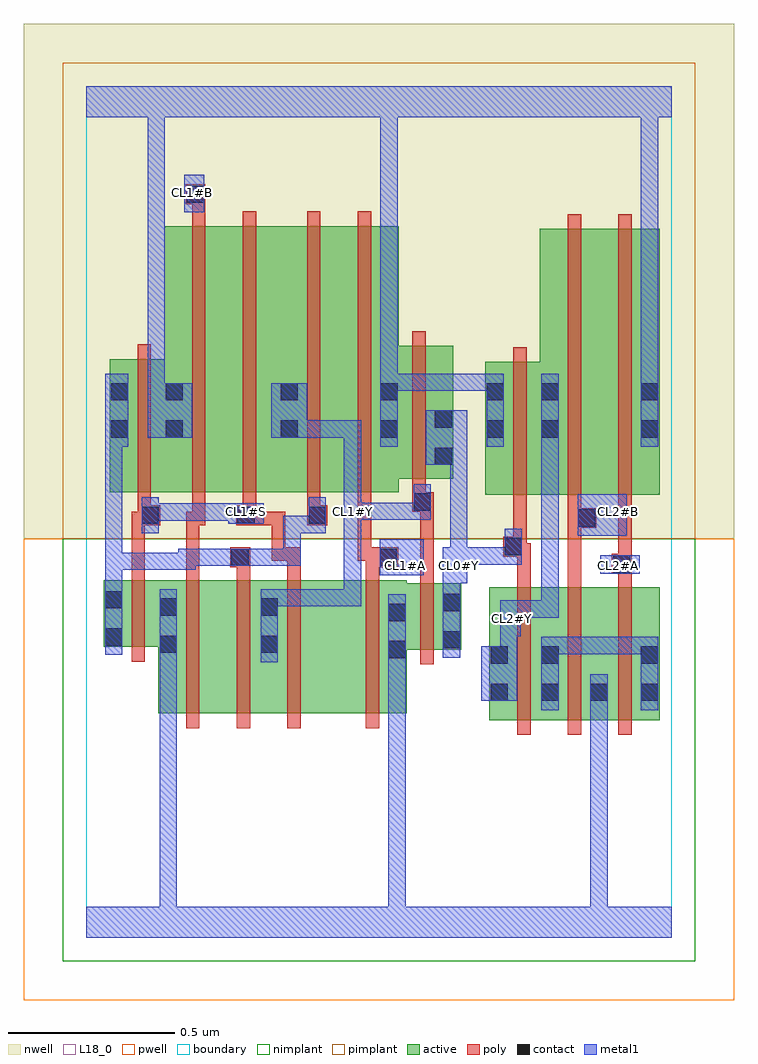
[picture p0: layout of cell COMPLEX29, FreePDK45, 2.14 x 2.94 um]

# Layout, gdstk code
import gdstk
lib = gdstk.Library(unit=1e-6, precision=1e-09)
def R(c, l, rs):  # rectangles x0, y0, x1, y1
    for r in rs: c.add(gdstk.rectangle(r[:2], r[2:], *l))
def A(c, l, x, y, w, h, nx, ny, dx, dy):  # array of equal rectangles
    R(c, l, [(x+i*dx, y+j*dy, x+i*dx+w, y+j*dy+h) for i in range(nx) for j in range(ny)])
active = (1, 0)
pwell = (2, 0)
nwell = (3, 0)
nimplant = (4, 0)
pimplant = (5, 0)
poly = (9, 0)
contact = (10, 0)
metal1 = (11, 0)
L18_0 = (18, 0)
boundary = (235, 0)

complex29 = lib.new_cell('COMPLEX29')
R(complex29, active, [(1.212,0.654,1.424,1.054), (1.364,0.654,1.572,1.054), (1.512,0.654,1.724,1.054), (0.216,0.674,0.396,1.074), (0.216,0.674,0.276,1.024), (0.396,0.674,0.58,1.074), (0.52,0.674,0.784,1.074), (0.784,0.674,0.964,1.074), (0.904,0.674,0.964,1.008), (1.212,0.708,1.272,1.054), (1.364,0.708,1.424,1.054), (1.512,0.708,1.572,0.768), (1.664,0.708,1.724,1.054), (0.52,0.756,0.58,1.024), (0.904,0.866,1.128,1.066), (1.068,0.866,1.128,1.066), (0.052,0.874,0.112,1.074), (0.052,0.874,0.276,1.074), (1.2,1.332,1.424,1.732), (1.2,1.332,1.26,1.672), (1.364,1.332,1.544,2.132), (1.364,1.332,1.424,1.714), (1.544,1.332,1.724,2.132), (1.664,1.332,1.724,2.132), (0.07,1.34,0.294,1.74), (0.07,1.34,0.13,1.672), (0.234,1.34,0.414,2.14), (0.234,1.34,0.294,1.672), (0.414,1.34,0.64,2.14), (0.58,1.34,0.76,2.14), (0.58,1.34,0.64,2.044), (0.76,1.34,0.94,2.14), (0.88,1.38,1.104,1.78), (0.88,1.38,0.94,1.672), (1.044,1.38,1.104,1.644)])
R(complex29, pwell, [(-0.188,-0.188,1.948,1.2)])
R(complex29, nwell, [(-0.188,1.2,1.948,2.748)])
R(complex29, nimplant, [(-0.072,-0.072,1.832,1.2)])
R(complex29, pimplant, [(-0.072,1.2,1.832,2.632)])
A(complex29, poly, 1.296, 0.61, 0.04, 0.488, 3, 1, 0.152, 0)
A(complex29, poly, 0.3, 0.63, 0.04, 0.488, 3, 1, 0.152, 0)
R(complex29, poly, [(0.84,0.63,0.88,1.118), (1.004,0.822,1.044,1.11), (0.136,0.83,0.176,1.118), (1.296,1.058,1.336,1.186), (1.448,1.058,1.488,1.272), (1.6,1.058,1.64,1.134), (1.004,1.07,1.044,1.32), (0.136,1.078,0.176,1.28), (0.3,1.078,0.34,1.28), (0.452,1.078,0.492,1.154), (0.604,1.078,0.644,1.174), (0.84,1.078,0.88,1.154), (1.58,1.094,1.64,1.154), (0.432,1.114,0.492,1.174), (0.84,1.114,0.938,1.174), (1.6,1.114,1.64,1.328), (1.6,1.114,1.64,1.154), (1.6,1.114,1.64,1.154), (0.558,1.134,0.598,1.174), (0.558,1.134,0.644,1.174), (0.558,1.134,0.598,1.28), (0.604,1.134,0.644,1.174), (0.816,1.134,0.856,1.336), (0.816,1.134,0.88,1.174), (0.84,1.134,0.88,1.174), (1.254,1.146,1.324,1.206), (1.284,1.146,1.324,1.186), (1.284,1.146,1.336,1.186), (1.284,1.166,1.324,1.328), (1.448,1.232,1.488,1.272), (1.448,1.232,1.488,1.272), (1.448,1.232,1.534,1.292), (0.136,1.24,0.194,1.28), (0.154,1.24,0.194,1.28), (0.154,1.24,0.222,1.3), (0.3,1.24,0.34,1.28), (0.3,1.24,0.34,1.28), (0.3,1.24,0.358,1.28), (0.318,1.24,0.358,1.336), (0.45,1.24,0.51,1.3), (0.47,1.24,0.598,1.28), (0.558,1.24,0.598,1.28), (0.664,1.24,0.724,1.3), (1.448,1.252,1.488,1.328), (0.154,1.26,0.194,1.336), (0.47,1.26,0.51,1.336), (0.664,1.26,0.704,1.336), (0.98,1.28,1.044,1.34), (1.004,1.28,1.044,1.32), (1.004,1.28,1.044,1.32), (1.284,1.288,1.324,1.776), (1.448,1.288,1.488,2.176), (1.6,1.288,1.64,2.176), (0.154,1.296,0.194,1.784), (0.318,1.296,0.358,2.184), (0.47,1.296,0.51,2.184), (0.664,1.296,0.704,2.184), (0.816,1.296,0.856,2.184), (0.98,1.3,1.02,1.34), (0.98,1.3,1.02,1.824), (0.318,2.144,0.358,2.246), (0.298,2.206,0.358,2.266)])
R(complex29, contact, [(1.216,0.712,1.268,0.764), (1.368,0.712,1.42,0.764), (1.516,0.712,1.568,0.764), (1.668,0.712,1.72,0.764), (1.216,0.824,1.268,0.876), (1.368,0.824,1.42,0.876), (1.668,0.824,1.72,0.876), (0.908,0.84,0.96,0.892), (0.22,0.856,0.272,0.908), (0.524,0.856,0.576,0.908), (1.072,0.87,1.124,0.922), (0.056,0.878,0.108,0.93), (0.908,0.952,0.96,1.004), (0.22,0.968,0.272,1.02), (0.524,0.968,0.576,1.02), (1.072,0.982,1.124,1.034), (0.056,0.99,0.108,1.042), (1.584,1.098,1.636,1.15), (0.436,1.118,0.488,1.17), (0.882,1.118,0.934,1.17), (1.258,1.15,1.31,1.202), (1.478,1.236,1.53,1.288), (0.166,1.244,0.218,1.296), (0.454,1.244,0.506,1.296), (0.668,1.244,0.72,1.296), (0.984,1.284,1.036,1.336), (1.048,1.422,1.1,1.474), (0.074,1.504,0.126,1.556), (0.238,1.504,0.29,1.556), (0.584,1.504,0.636,1.556), (0.884,1.504,0.936,1.556), (1.204,1.504,1.256,1.556), (1.368,1.504,1.42,1.556), (1.668,1.504,1.72,1.556), (1.048,1.534,1.1,1.586), (0.074,1.616,0.126,1.668), (0.238,1.616,0.29,1.668), (0.584,1.616,0.636,1.668), (0.884,1.616,0.936,1.668), (1.204,1.616,1.256,1.668), (1.368,1.616,1.42,1.668), (1.668,1.616,1.72,1.668), (0.302,2.21,0.354,2.262)])
R(complex29, metal1, [(0,0,1.76,0.092), (0.22,0.04,0.272,0.092), (0.22,0.04,0.272,0.092), (0.22,0.04,0.272,0.88), (0.908,0.04,0.96,0.092), (0.908,0.04,0.96,0.092), (0.908,0.04,0.96,0.092), (0.908,0.04,0.96,0.092), (0.908,0.04,0.96,0.092), (0.908,0.04,0.96,0.092), (0.908,0.04,0.96,0.092), (0.908,0.04,0.96,0.092), (0.908,0.04,0.96,0.092), (0.908,0.04,0.96,0.092), (0.908,0.04,0.96,0.864), (1.516,0.04,1.568,0.092), (1.516,0.04,1.568,0.092), (1.516,0.04,1.568,0.092), (1.516,0.04,1.568,0.092), (1.516,0.04,1.568,0.092), (1.516,0.04,1.568,0.092), (1.516,0.04,1.568,0.092), (1.516,0.04,1.568,0.092), (1.516,0.04,1.568,0.092), (1.516,0.04,1.568,0.092), (1.516,0.04,1.568,0.092), (1.516,0.04,1.568,0.092), (1.516,0.04,1.568,0.736), (1.368,0.684,1.42,0.904), (1.516,0.684,1.568,0.792), (1.668,0.684,1.72,0.904), (1.188,0.712,1.296,0.876), (0.908,0.812,0.96,0.864), (0.908,0.812,0.96,0.864), (0.908,0.812,0.96,1.032), (1.244,0.824,1.296,0.958), (0.22,0.828,0.272,0.88), (0.22,0.828,0.272,0.88), (0.22,0.828,0.272,0.88), (0.22,0.828,0.272,0.88), (0.22,0.828,0.272,0.88), (0.22,0.828,0.272,0.88), (0.22,0.828,0.272,0.88), (0.22,0.828,0.272,0.88), (0.22,0.828,0.272,0.88), (0.22,0.828,0.272,0.88), (0.22,0.828,0.272,1.048), (0.524,0.828,0.576,1.048), (1.072,0.842,1.124,1.062), (0.056,0.85,0.108,1.07), (1.368,0.852,1.42,0.904), (1.368,0.852,1.42,0.904), (1.368,0.852,1.61,0.904), (1.558,0.852,1.61,0.904), (1.558,0.852,1.61,0.904), (1.558,0.852,1.61,0.904), (1.558,0.852,1.72,0.904), (1.244,0.906,1.306,1.014), (1.254,0.962,1.306,1.014), (1.254,0.962,1.306,1.014), (1.254,0.962,1.42,1.014), (1.368,0.962,1.42,1.014), (1.368,0.962,1.42,1.528), (0.524,0.996,0.644,1.048), (0.592,0.996,0.644,1.048), (0.592,0.996,0.826,1.048), (0.774,0.996,0.826,1.048), (0.774,0.996,0.826,1.048), (0.774,0.996,0.826,1.048), (0.774,0.996,0.826,1.278), (1.072,1.01,1.124,1.118), (0.056,1.018,0.108,1.158), (1.072,1.066,1.146,1.174), (0.882,1.09,1.014,1.198), (1.546,1.094,1.664,1.15), (0.056,1.106,0.108,1.158), (0.056,1.106,0.108,1.158), (0.056,1.106,0.108,1.158), (0.056,1.106,0.328,1.158), (0.056,1.106,0.108,1.528), (0.276,1.106,0.328,1.158), (0.276,1.106,0.328,1.158), (0.276,1.106,0.328,1.17), (0.276,1.118,0.46,1.17), (0.408,1.118,0.46,1.17), (0.408,1.118,0.46,1.17), (0.408,1.118,0.516,1.17), (0.464,1.118,0.644,1.17), (0.592,1.118,0.644,1.17), (0.592,1.118,0.644,1.268), (1.094,1.122,1.146,1.174), (1.094,1.122,1.146,1.174), (1.094,1.122,1.182,1.174), (1.094,1.122,1.146,1.474), (1.13,1.122,1.182,1.174), (1.13,1.122,1.31,1.174), (1.258,1.122,1.31,1.23), (1.478,1.208,1.626,1.334), (0.166,1.216,0.218,1.324), (0.592,1.216,0.644,1.268), (0.592,1.216,0.72,1.268), (0.668,1.216,0.72,1.324), (0.774,1.226,0.826,1.334), (0.426,1.244,0.534,1.306), (0.166,1.254,0.218,1.306), (0.166,1.254,0.218,1.306), (0.166,1.254,0.35,1.306), (0.298,1.254,0.35,1.306), (0.298,1.254,0.466,1.306), (0.414,1.254,0.466,1.306), (0.414,1.254,0.478,1.306), (0.774,1.256,0.85,1.308), (0.798,1.256,0.85,1.308), (0.798,1.256,0.962,1.308), (0.91,1.256,0.962,1.308), (0.91,1.256,1.036,1.308), (0.984,1.256,1.036,1.364), (0.774,1.282,0.826,1.556), (1.02,1.422,1.146,1.586), (0.056,1.476,0.108,1.528), (0.056,1.476,0.108,1.528), (0.056,1.476,0.126,1.696), (0.884,1.476,0.936,1.696), (1.204,1.476,1.256,1.696), (1.368,1.476,1.42,1.528), (1.368,1.476,1.42,1.528), (1.368,1.476,1.42,1.696), (1.668,1.476,1.72,1.696), (0.184,1.504,0.318,1.668), (0.556,1.504,0.664,1.668), (0.612,1.504,0.664,1.556), (0.612,1.504,0.664,1.556), (0.612,1.504,0.826,1.556), (0.774,1.504,0.826,1.556), (0.184,1.616,0.236,1.668), (0.184,1.616,0.236,1.668), (0.184,1.616,0.236,1.668), (0.184,1.616,0.236,1.668), (0.184,1.616,0.236,1.668), (0.184,1.616,0.236,1.668), (0.184,1.616,0.236,2.52), (0.884,1.644,0.936,2.52), (0.884,1.644,1.072,1.696), (1.02,1.644,1.072,1.696), (1.02,1.644,1.072,1.696), (1.02,1.644,1.072,1.696), (1.02,1.644,1.072,1.696), (1.02,1.644,1.072,1.696), (1.02,1.644,1.072,1.696), (1.02,1.644,1.072,1.696), (1.02,1.644,1.256,1.696), (1.204,1.644,1.256,1.696), (1.204,1.644,1.256,1.696), (1.204,1.644,1.256,1.696), (1.204,1.644,1.256,1.696), (1.668,1.644,1.72,2.52), (0.294,2.182,0.354,2.294), (0,2.468,1.76,2.56), (0.184,2.468,0.236,2.52), (0.184,2.468,0.236,2.52), (0.884,2.468,0.936,2.52), (0.884,2.468,0.936,2.52), (0.884,2.468,0.936,2.52), (0.884,2.468,0.936,2.52), (0.884,2.468,0.936,2.52), (0.884,2.468,0.936,2.52), (0.884,2.468,0.936,2.52), (0.884,2.468,0.936,2.52), (1.668,2.468,1.72,2.52), (1.668,2.468,1.72,2.52), (1.668,2.468,1.72,2.52), (1.668,2.468,1.72,2.52), (1.668,2.468,1.72,2.52), (1.668,2.468,1.72,2.52), (1.668,2.468,1.72,2.52), (1.668,2.468,1.72,2.52)])
R(complex29, L18_0, [(0,0,1.76,0.092), (0.22,0.04,0.272,0.092), (0.22,0.04,0.272,0.092), (0.22,0.04,0.272,0.88), (0.908,0.04,0.96,0.092), (0.908,0.04,0.96,0.092), (0.908,0.04,0.96,0.092), (0.908,0.04,0.96,0.092), (0.908,0.04,0.96,0.092), (0.908,0.04,0.96,0.092), (0.908,0.04,0.96,0.092), (0.908,0.04,0.96,0.092), (0.908,0.04,0.96,0.092), (0.908,0.04,0.96,0.092), (0.908,0.04,0.96,0.864), (1.516,0.04,1.568,0.092), (1.516,0.04,1.568,0.092), (1.516,0.04,1.568,0.092), (1.516,0.04,1.568,0.092), (1.516,0.04,1.568,0.092), (1.516,0.04,1.568,0.092), (1.516,0.04,1.568,0.092), (1.516,0.04,1.568,0.092), (1.516,0.04,1.568,0.092), (1.516,0.04,1.568,0.092), (1.516,0.04,1.568,0.092), (1.516,0.04,1.568,0.092), (1.516,0.04,1.568,0.736), (1.516,0.684,1.568,0.792), (1.188,0.712,1.296,0.876), (0.908,0.812,0.96,0.864), (0.908,0.812,0.96,0.864), (0.908,0.812,0.96,1.032), (1.244,0.824,1.296,0.958), (0.22,0.828,0.272,0.88), (0.22,0.828,0.272,0.88), (0.22,0.828,0.272,0.88), (0.22,0.828,0.272,0.88), (0.22,0.828,0.272,0.88), (0.22,0.828,0.272,0.88), (0.22,0.828,0.272,0.88), (0.22,0.828,0.272,0.88), (0.22,0.828,0.272,0.88), (0.22,0.828,0.272,0.88), (0.22,0.828,0.272,1.048), (0.524,0.828,0.576,1.048), (1.072,0.842,1.124,1.062), (1.244,0.906,1.306,1.014), (1.254,0.934,1.306,0.986), (1.254,0.962,1.306,1.014), (1.254,0.962,1.306,1.014), (1.254,0.962,1.42,1.014), (1.368,0.962,1.42,1.014), (1.368,0.962,1.42,1.528), (0.524,0.996,0.644,1.048), (0.592,0.996,0.644,1.048), (0.592,0.996,0.826,1.048), (0.774,0.996,0.826,1.048), (0.774,0.996,0.826,1.048), (0.774,0.996,0.826,1.048), (0.774,0.996,0.826,1.278), (1.072,1.01,1.124,1.118), (1.072,1.066,1.146,1.174), (0.882,1.09,1.014,1.198), (0.934,1.094,0.986,1.146), (1.094,1.094,1.146,1.146), (1.546,1.094,1.664,1.15), (1.574,1.094,1.626,1.146), (1.094,1.122,1.146,1.174), (1.094,1.122,1.146,1.174), (1.094,1.122,1.146,1.474), (1.094,1.122,1.182,1.174), (1.13,1.122,1.182,1.174), (1.13,1.122,1.31,1.174), (1.258,1.122,1.31,1.23), (1.478,1.208,1.626,1.334), (0.166,1.216,0.218,1.324), (0.774,1.226,0.826,1.334), (0.426,1.244,0.534,1.306), (0.166,1.254,0.218,1.306), (0.166,1.254,0.218,1.306), (0.166,1.254,0.35,1.306), (0.298,1.254,0.35,1.306), (0.298,1.254,0.466,1.306), (0.414,1.254,0.466,1.306), (0.414,1.254,0.478,1.306), (0.454,1.254,0.506,1.306), (0.774,1.254,0.826,1.306), (1.574,1.254,1.626,1.306), (0.774,1.256,0.85,1.308), (0.798,1.256,0.85,1.308), (0.798,1.256,0.962,1.308), (0.91,1.256,0.962,1.308), (0.91,1.256,1.036,1.308), (0.984,1.256,1.036,1.364), (0.774,1.282,0.826,1.556), (1.02,1.422,1.146,1.586), (0.884,1.476,0.936,1.696), (1.204,1.476,1.256,1.696), (1.368,1.476,1.42,1.528), (1.368,1.476,1.42,1.528), (1.368,1.476,1.42,1.696), (1.668,1.476,1.72,1.696), (0.184,1.504,0.318,1.668), (0.556,1.504,0.664,1.668), (0.612,1.504,0.664,1.556), (0.612,1.504,0.664,1.556), (0.612,1.504,0.826,1.556), (0.774,1.504,0.826,1.556), (0.184,1.616,0.236,1.668), (0.184,1.616,0.236,1.668), (0.184,1.616,0.236,1.668), (0.184,1.616,0.236,1.668), (0.184,1.616,0.236,1.668), (0.184,1.616,0.236,1.668), (0.184,1.616,0.236,2.52), (0.884,1.644,0.936,2.52), (0.884,1.644,1.072,1.696), (1.02,1.644,1.072,1.696), (1.02,1.644,1.072,1.696), (1.02,1.644,1.072,1.696), (1.02,1.644,1.072,1.696), (1.02,1.644,1.072,1.696), (1.02,1.644,1.072,1.696), (1.02,1.644,1.072,1.696), (1.02,1.644,1.256,1.696), (1.204,1.644,1.256,1.696), (1.204,1.644,1.256,1.696), (1.204,1.644,1.256,1.696), (1.204,1.644,1.256,1.696), (1.668,1.644,1.72,2.52), (0.294,2.182,0.354,2.294), (0.294,2.214,0.346,2.266), (0,2.468,1.76,2.56), (0.184,2.468,0.236,2.52), (0.184,2.468,0.236,2.52), (0.884,2.468,0.936,2.52), (0.884,2.468,0.936,2.52), (0.884,2.468,0.936,2.52), (0.884,2.468,0.936,2.52), (0.884,2.468,0.936,2.52), (0.884,2.468,0.936,2.52), (0.884,2.468,0.936,2.52), (0.884,2.468,0.936,2.52), (1.668,2.468,1.72,2.52), (1.668,2.468,1.72,2.52), (1.668,2.468,1.72,2.52), (1.668,2.468,1.72,2.52), (1.668,2.468,1.72,2.52), (1.668,2.468,1.72,2.52), (1.668,2.468,1.72,2.52), (1.668,2.468,1.72,2.52)])
R(complex29, boundary, [(0,0,1.76,2.56)])
complex29.add(gdstk.Label('CL0#Y', (1.12,1.12), layer=11, texttype=0))
complex29.add(gdstk.Label('CL1#A', (0.96,1.12), layer=11, texttype=0))
complex29.add(gdstk.Label('CL1#B', (0.32,2.24), layer=11, texttype=0))
complex29.add(gdstk.Label('CL1#S', (0.48,1.28), layer=11, texttype=0))
complex29.add(gdstk.Label('CL1#Y', (0.8,1.28), layer=11, texttype=0))
complex29.add(gdstk.Label('CL2#A', (1.6,1.12), layer=11, texttype=0))
complex29.add(gdstk.Label('CL2#B', (1.6,1.28), layer=11, texttype=0))
complex29.add(gdstk.Label('CL2#Y', (1.28,0.96), layer=11, texttype=0))

lib.write_gds('COMPLEX29.gds')
